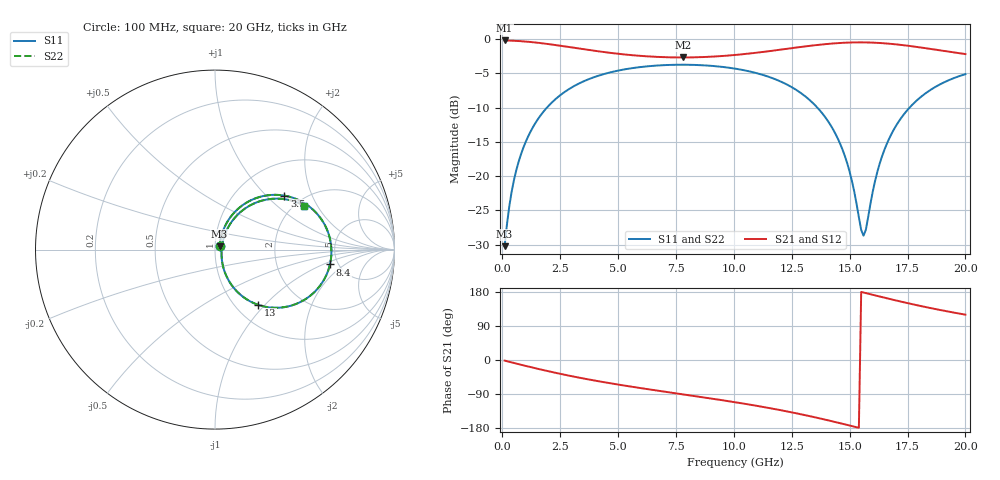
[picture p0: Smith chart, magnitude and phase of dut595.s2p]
! Touchstone file exported from HFSS 2026.1.0
!  File:  C:/ffzhzh/LocalFiles/Ansys_Project_Files/temp_train_TSV_RDL_595_1783121119_53076.aedt
!  Generated:  07:39:04 AM Jul  4, 2026
!  Design:  TSV_RDL
!  Project:  temp_train_TSV_RDL_595_1783121119_53076
! Variables:
!  h_bsmrdl = 4.9um
!  h_ox = 20um
!  h_rdl = 5um
!  h_sub = 86.02um
!  h_tmrdl = 4.72um
!  h_tsv = 86.02um
!  h_via = 3um
!  l_bsmrdl = 924.88um
!  l_sub = 3865.93um
!  l_tmrdl = 147.93um
!  m_sub = 200um
!  pitch = 45.97um
!  r_tsv = 4.75um
!  s_tmrdl = 10um
!  w_bsmrdl = 10.01um
!  w_sub = 500um
!  w_tmrdl = 23.18um
!  x_tsv_center1 = 159.52um
!  x_tsv_center2 = 1094.41um
!  x_tsv_center3 = 1265.52um
!  x_tsv_center4 = 2200.41um
!  x_tsv_center5 = 2371.52um
!  x_tsv_center6 = 3306.41um
# GHz S MA R 50.000000
! Terminal data exported
! Port[1] = TM_RDL1_1_T1
! Port[2] = TM_RDL5_1_T1
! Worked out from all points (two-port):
!   200 points, 100 MHz to 20 GHz, reference 50 ohm
!   highest |S21| = -0.22 dB at 100 MHz (marker M1); lowest = -2.7 dB at 7.8 GHz (marker M2)
!   |S21| within 3 dB of the highest: start of sweep to end of sweep
!   lowest |S11| = -30.2 dB at 100 MHz (marker M3), VSWR 1.06, Z = 52.6 + j1.85 ohm
!   |S11| at or under -10 dB: start of sweep to 1.931 GHz; 13.6 GHz to 17.59 GHz (3.988 GHz wide, 25.6 % of centre)
!   |S22| runs from -30.2 to -3.8 dB; largest |S21 - S12| = 1.9e-14
!   S11 on the Smith chart (normalised r, x): 100 MHz: 1.05, +0.04; 3.5 GHz: 1.63, +1.29; 8.4 GHz: 4.28, -1.21; 13 GHz: 1.26, -0.92; 20 GHz: 2.22, +1.56
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0.1  0.03086 34.8  0.975 -1.6  0.975 -1.6  0.03086 34.8
! Gamma 0 0 0 0
! Port Impedance 50 0 50 0
0.3  0.05991 60.0  0.973 -4.7  0.973 -4.7  0.05991 60.0
0.5  0.09295 65.9  0.9698 -7.8  0.9698 -7.8  0.09295 65.9
1.1  0.1921 65.0  0.9545 -16.9  0.9545 -16.9  0.1921 65.0
2.1  0.3389 54.0  0.9127 -31.2  0.9127 -31.2  0.3389 54.0
3.5  0.4899 37.9  0.8425 -48.7  0.8425 -48.7  0.4899 37.9
5.2  0.5968 20.7  0.7733 -66.8  0.7733 -66.8  0.5968 20.7
6.8  0.6418 6.3  0.7386 -81.7  0.7386 -81.7  0.6418 6.3
7.8  0.6488 -2.2  0.7328 -90.6  0.7328 -90.6  0.6488 -2.2
8.4  0.6458 -7.3  0.7353 -96.0  0.7353 -96.0  0.6458 -7.3
10.1  0.6058 -22.3  0.7654 -111.9  0.7654 -111.9  0.6058 -22.3
11.7  0.5154 -37.9  0.8219 -128.7  0.8219 -128.7  0.5153 -37.9
13  0.3915 -51.9  0.8789 -144.5  0.8789 -144.5  0.3914 -51.9
13.4  0.3429 -56.3  0.8958 -149.8  0.8958 -149.8  0.3429 -56.3
14.1  0.2467 -63.3  0.9215 -159.6  0.9215 -159.6  0.2467 -63.3
14.7  0.155 -66.7  0.937 -168.4  0.937 -168.4  0.155 -66.7
15.1  0.09224 -62.8  0.9427 -174.4  0.9427 -174.4  0.09226 -62.7
15.6  0.03681 -3.5  0.944 178.0  0.944 178.0  0.03694 -3.5
16.2  0.1079 57.6  0.9367 169.0  0.9367 169.0  0.108 57.6
16.7  0.1864 59.0  0.9238 161.5  0.9238 161.5  0.1865 58.9
18  0.3686 47.1  0.87 143.4  0.87 143.4  0.3686 47.1
20  0.5539 26.2  0.7756 119.7  0.7756 119.7  0.554 26.2
